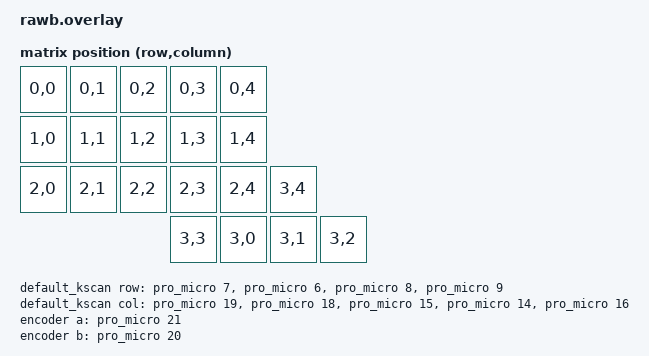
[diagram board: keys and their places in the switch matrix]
#include <dt-bindings/zmk/matrix_transform.h>

/ {
    chosen {
        zmk,kscan = &default_kscan;
        zmk,matrix_transform = &default_transform;
    };

    default_kscan: kscan {
        compatible = "zmk,kscan-gpio-matrix";
        wakeup-source;
        label = "default_kscan";
        diode-direction = "row2col";

        row-gpios = <&pro_micro 7 GPIO_ACTIVE_HIGH>,
                    <&pro_micro 6 GPIO_ACTIVE_HIGH>,
                    <&pro_micro 8 GPIO_ACTIVE_HIGH>,
                    <&pro_micro 9 GPIO_ACTIVE_HIGH>;

        col-gpios = <&pro_micro 19 (GPIO_ACTIVE_HIGH | GPIO_PULL_DOWN)>,
                    <&pro_micro 18 (GPIO_ACTIVE_HIGH | GPIO_PULL_DOWN)>,
                    <&pro_micro 15 (GPIO_ACTIVE_HIGH | GPIO_PULL_DOWN)>,
                    <&pro_micro 14 (GPIO_ACTIVE_HIGH | GPIO_PULL_DOWN)>,
                    <&pro_micro 16 (GPIO_ACTIVE_HIGH | GPIO_PULL_DOWN)>;
    };

    encoder: encoder {
        compatible = "alps,ec11";
        a-gpios = <&pro_micro 21 GPIO_PULL_UP>;
        b-gpios = <&pro_micro 20 GPIO_PULL_UP>;
        steps = <20>;
        status = "enabled";
    };

    sensors: sensors {
        compatible = "zmk,keymap-sensors";
        sensors = <&encoder>;
        triggers-per-rotation = <20>;
    };

    default_transform: matrix_transform {
        compatible = "zmk,matrix-transform";
        rows = <4>;
        columns = <5>;

        map = <
            RC(0,0) RC(0,1) RC(0,2) RC(0,3) RC(0,4)
            RC(1,0) RC(1,1) RC(1,2) RC(1,3) RC(1,4)
            RC(2,0) RC(2,1) RC(2,2) RC(2,3) RC(2,4) RC(3,4)
                                    RC(3,3) RC(3,0) RC(3,1) RC(3,2)
        >;
    };
};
